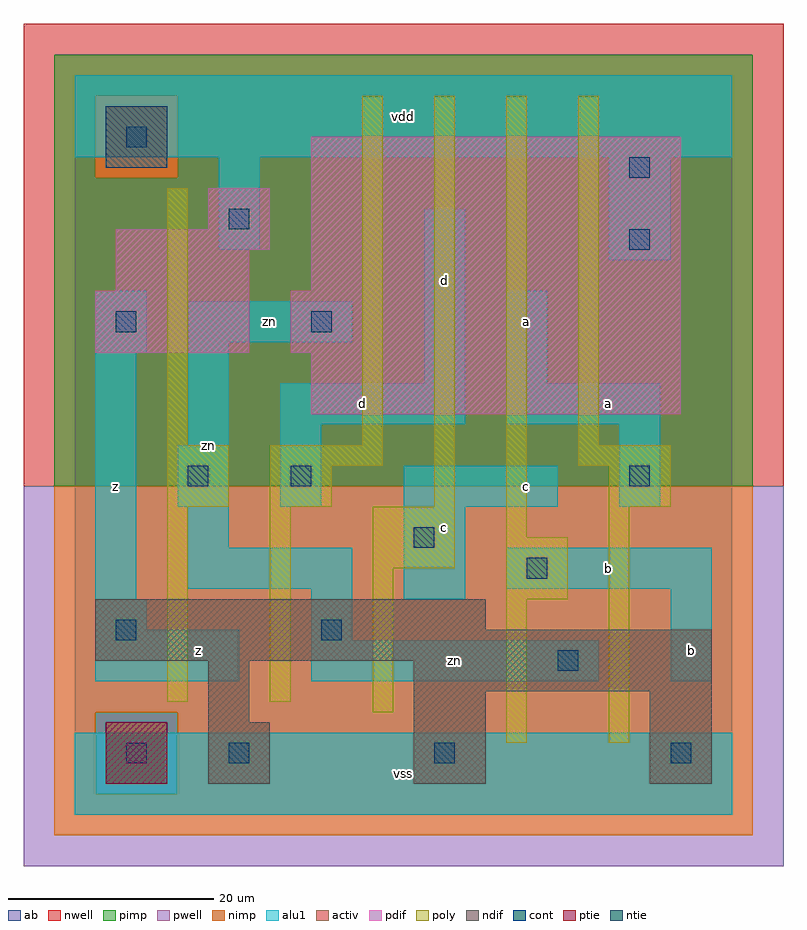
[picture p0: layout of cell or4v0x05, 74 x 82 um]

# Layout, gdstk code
import gdstk
lib = gdstk.Library(unit=1e-6, precision=1e-09)
def R(c, l, rs):  # rectangles x0, y0, x1, y1
    for r in rs: c.add(gdstk.rectangle(r[:2], r[2:], *l))
ndif = (3, 0)
pdif = (4, 0)
ntie = (5, 0)
ptie = (6, 0)
cont = (25, 0)
pwell = (41, 0)
nwell = (42, 0)
activ = (43, 0)
pimp = (44, 0)
nimp = (45, 0)
poly = (46, 0)
alu1 = (49, 0)
ab = (63, 0)

or4v0x05 = lib.new_cell('or4v0x05')
R(or4v0x05, ndif, [(13,3,19,9), (33,3,40,12), (56,3,62,12), (13,9,17,15), (33,12,62,15), (2,15,62,18), (2,18,40,21)])
R(or4v0x05, pdif, [(23,39,59,45), (2,45,17,51), (21,45,59,51), (4,51,17,55), (23,51,59,66), (4,55,19,57), (13,57,19,61)])
R(or4v0x05, ntie, [(3,63,9,69)])
R(or4v0x05, ptie, [(3,3,9,9)])
R(or4v0x05, cont, [(5,5,7,7), (15,5,17,7), (35,5,37,7), (58,5,60,7), (47,14,49,16), (4,17,6,19), (24,17,26,19), (44,23,46,25), (33,26,35,28), (11,32,13,34), (21,32,23,34), (54,32,56,34), (4,47,6,49), (23,47,25,49), (54,55,56,57), (15,57,17,59), (54,62,56,64), (5,65,7,67)])
R(or4v0x05, pwell, [(-5,-5,69,32)])
R(or4v0x05, nwell, [(-5,32,69,77)])
R(or4v0x05, activ, [(3,3,9,9), (13,3,19,9), (33,3,40,12), (56,3,62,12), (13,9,17,15), (33,12,62,15), (2,15,62,18), (2,18,40,21), (23,39,59,45), (2,45,17,51), (21,45,59,51), (4,51,17,55), (23,51,59,66), (4,55,19,57), (13,57,19,61), (3,63,9,69)])
R(or4v0x05, pimp, [(2,2,10,10), (-2,32,66,62), (-2,62,2,70), (10,62,66,70), (-2,70,66,74)])
R(or4v0x05, nimp, [(-2,-2,66,2), (-2,2,2,10), (10,2,66,10), (-2,10,66,32), (2,62,10,70)])
R(or4v0x05, poly, [(42,7,44,21), (52,7,54,30), (29,10,31,24), (9,11,11,30), (19,11,21,30), (42,21,48,27), (29,24,37,30), (42,27,44,70), (9,30,15,36), (19,30,25,34), (35,30,37,70), (52,30,58,34), (19,34,30,36), (49,34,58,36), (9,36,11,61), (28,36,30,70), (49,36,51,70)])
R(or4v0x05, alu1, [(0,0,64,8), (2,13,16,18), (23,13,51,17), (58,13,62,22), (23,17,27,22), (2,18,7,21), (2,21,6,45), (32,21,38,30), (11,22,27,26), (42,22,62,26), (11,26,15,30), (10,30,15,36), (20,30,24,38), (32,30,47,34), (53,30,57,38), (11,36,15,46), (20,38,38,42), (42,38,57,42), (34,42,38,59), (42,42,46,51), (2,45,7,51), (11,46,27,50), (52,54,58,64), (14,55,18,64), (0,64,64,72)])
R(or4v0x05, ab, [(0,0,64,72)])
or4v0x05.add(gdstk.Label('zn', (13,36), layer=49, texttype=0))
or4v0x05.add(gdstk.Label('zn', (19,48), layer=49, texttype=0))
or4v0x05.add(gdstk.Label('zn', (37,15), layer=49, texttype=0))
or4v0x05.add(gdstk.Label('z', (12,16), layer=49, texttype=0))
or4v0x05.add(gdstk.Label('z', (4,32), layer=49, texttype=0))
or4v0x05.add(gdstk.Label('d', (28,40), layer=49, texttype=0))
or4v0x05.add(gdstk.Label('vss', (32,4), layer=49, texttype=0))
or4v0x05.add(gdstk.Label('c', (36,28), layer=49, texttype=0))
or4v0x05.add(gdstk.Label('c', (44,32), layer=49, texttype=0))
or4v0x05.add(gdstk.Label('d', (36,52), layer=49, texttype=0))
or4v0x05.add(gdstk.Label('a', (44,48), layer=49, texttype=0))
or4v0x05.add(gdstk.Label('vdd', (32,68), layer=49, texttype=0))
or4v0x05.add(gdstk.Label('b', (60,16), layer=49, texttype=0))
or4v0x05.add(gdstk.Label('b', (52,24), layer=49, texttype=0))
or4v0x05.add(gdstk.Label('a', (52,40), layer=49, texttype=0))

lib.write_gds('or4v0x05.gds')
